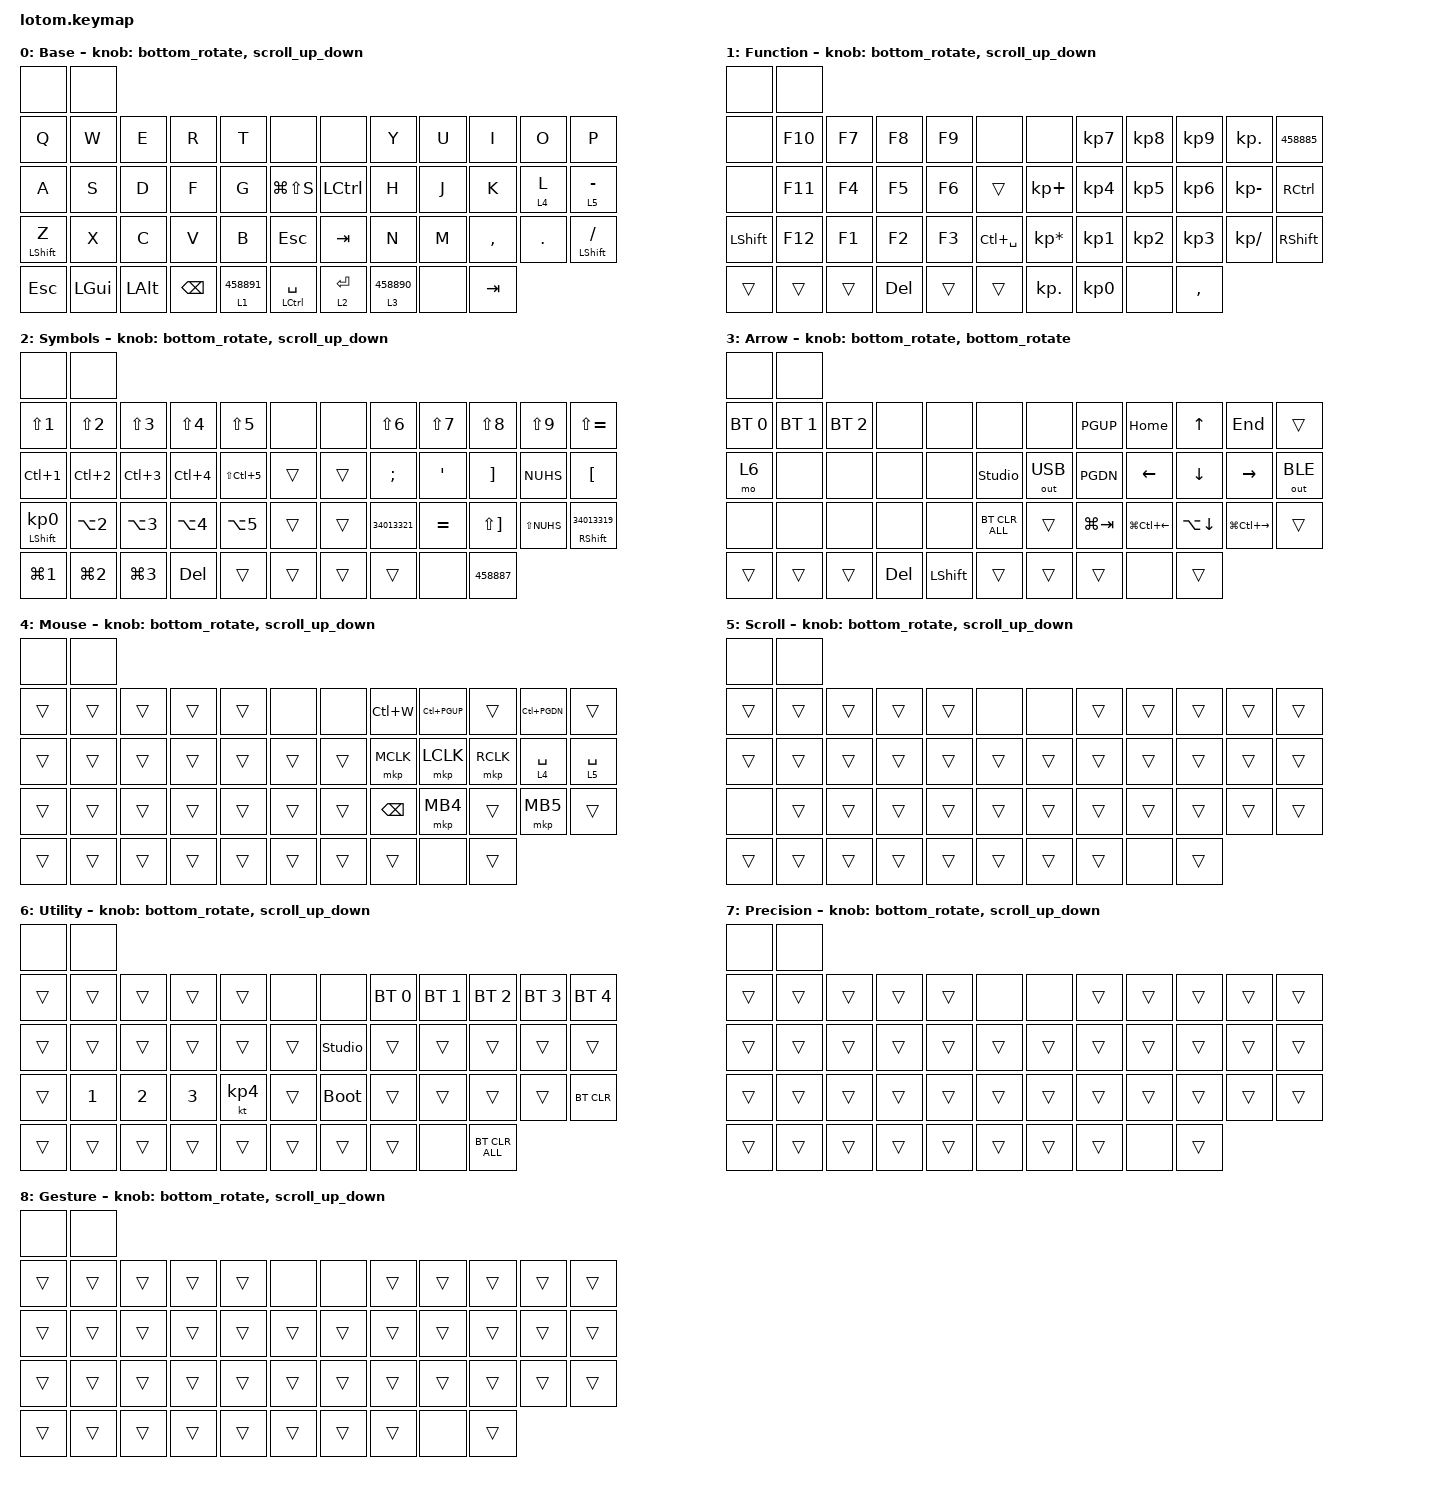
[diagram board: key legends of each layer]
#include <behaviors.dtsi>
#include <dt-bindings/zmk/bt.h>
#include <dt-bindings/zmk/keys.h>
#include <dt-bindings/zmk/outputs.h>
#include <dt-bindings/zmk/pointing.h>
#include <zephyr/dt-bindings/input/input-event-codes.h>
#include <dt-bindings/zmk/runtime_input_processor.h>
#include <input/processors/runtime-input-processor.dtsi>
#include <behaviors/runtime-input-processor.dtsi>
#include <behaviors/runtime_macro.dtsi>
#include <behaviors/runtime-sensor-rotate.dtsi>

#undef ZMK_POINTING_DEFAULT_SCRL_VAL
#define ZMK_POINTING_DEFAULT_SCRL_VAL 120

// Cygnus layer order: Base, Function, Symbols, Arrow, Mouse, Scroll,
// Utility, Precision, Gesture. Physical positions remain LoTom's 48 keys.
&mt {
    flavor = "balanced";
    tapping-term-ms = <200>;
    quick-tap-ms = <0>;
    require-prior-idle-ms = <0>;
};

&lt {
    flavor = "balanced";
    tapping-term-ms = <200>;
    quick-tap-ms = <0>;
    require-prior-idle-ms = <0>;
};

&mouse_runtime_input_processor {
    temp-layer-enabled;
    temp-layer = <4>;
    temp-layer-activation-delay-ms = <0>;
    temp-layer-deactivation-delay-ms = <60000>;
};

&scroll_runtime_input_processor {
    // Same trackball scroll defaults as Cygnus, active on layer 5 only.
    active-layers = <32>;
    x-codes = <INPUT_REL_X>;
    y-codes = <INPUT_REL_Y>;
    xy-to-scroll-enabled;
    scale-multiplier = <1>;
    scale-divisor = <60>;
    axis-snap-mode = <AXIS_SNAP_MODE_Y>;
    axis-snap-threshold = <200>;
};

/ {
    runtime_combo_defaults {
        compatible = "cormoran,runtime-combo-defaults";

        gesture_io {
            slot = <0>;
            display-name = "IO Gesture";
            bindings = <&mo 8>;
            key-positions = <11 12>;
            layers = <0 4>;
            timeout-ms = <50>;
        };

        precision_l_minus {
            slot = <1>;
            display-name = "L minus Precision";
            bindings = <&mo 7>;
            key-positions = <24 25>;
            layers = <0 4>;
            timeout-ms = <50>;
        };
    };

    behaviors {
        scroll_up_down: behavior_sensor_rotate_mouse_wheel_up_down {
            compatible = "zmk,behavior-runtime-sensor-rotate";
            label = "ENCODER_MSC_DOWN_UP";
            #sensor-binding-cells = <0>;
            cw-binding = <&msc SCRL_DOWN>;
            ccw-binding = <&msc SCRL_UP>;
            tap-ms = <20>;
        };

        bottom_rotate: behavior_sensor_rotate_bottom {
            compatible = "zmk,behavior-runtime-sensor-rotate";
            label = "ENCODER_BOTTOM";
            #sensor-binding-cells = <0>;
            cw-binding = <&kp LC(PAGE_UP)>;
            ccw-binding = <&kp LC(PAGE_DOWN)>;
            tap-ms = <20>;
        };
    };

    keymap: keymap {
        compatible = "zmk,keymap";

        // Each hand: pinky 1, ring 1, middle 1, index 3 columns.
        // Cygnus's existing inner keys are retained. The five additional
        // LoTom positions (0, 1, 7, 8, 46) are unassigned on every layer.
        default_layer {
            display-name = "Base";
            bindings = <
                &none                  &none
                &kp Q                  &kp W                  &kp E                  &kp R                  &kp T                  &none                  &none                  &kp Y                  &kp U                  &kp I                  &kp O                  &kp P
                &kp A                  &kp S                  &kp D                  &kp F                  &kp G                  &kp LG(LS(S))          &kp LCTL               &kp H                  &kp J                  &kp K                  &lt 4 L                &lt 5 MINUS
                &mt LSHFT Z            &kp X                  &kp C                  &kp V                  &kp B                  &kp ESC                &kp TAB                &kp N                  &kp M                  &kp COMMA              &kp DOT                &mt LSHFT FSLH
                &kp ESC                &kp LGUI               &kp LALT               &kp BSPC               &lt 1 458891           &mt LCTL SPACE         &lt 2 RET              &lt 3 458890           &none                  &kp TAB
            >;

            sensor-bindings = <&bottom_rotate &scroll_up_down>;
        };

        FUNCTION {
            display-name = "Function";
            bindings = <
                &none                  &none
                &none                  &kp F10                &kp F7                 &kp F8                 &kp F9                 &none                  &none                  &kp KP_N7              &kp KP_N8              &kp KP_N9              &kp KP_DOT             &kp 458885
                &none                  &kp F11                &kp F4                 &kp F5                 &kp F6                 &trans                 &kp KP_PLUS            &kp KP_N4              &kp KP_N5              &kp KP_N6              &kp KP_MINUS           &kp RCTL
                &kp LSHFT              &kp F12                &kp F1                 &kp F2                 &kp F3                 &kp LC(SPACE)          &kp KP_ASTERISK        &kp KP_N1              &kp KP_N2              &kp KP_N3              &kp KP_SLASH           &kp RSHFT
                &trans                 &trans                 &trans                 &kp DEL                &trans                 &trans                 &kp KP_DOT             &kp KP_N0              &none                  &kp COMMA
            >;

            sensor-bindings = <&bottom_rotate &scroll_up_down>;
        };

        NUM {
            display-name = "Symbols";
            bindings = <
                &none                  &none
                &kp LS(N1)             &kp LS(N2)             &kp LS(N3)             &kp LS(N4)             &kp LS(N5)             &none                  &none                  &kp LS(N6)             &kp LS(N7)             &kp LS(N8)             &kp LS(N9)             &kp LS(EQUAL)
                &kp LC(N1)             &kp LC(N2)             &kp LC(N3)             &kp LC(N4)             &kp LS(LC(N5))         &trans                 &trans                 &kp SEMI               &kp SQT                &kp RBKT               &kp NUHS               &kp LBKT
                &mt LSHFT KP_N0        &kp LA(N2)             &kp LA(N3)             &kp LA(N4)             &kp LA(N5)             &trans                 &trans                 &kp 34013321           &kp EQUAL              &kp LS(RBKT)           &kp LS(NUHS)           &mt RSHFT 34013319
                &kp LG(N1)             &kp LG(N2)             &kp LG(N3)             &kp DEL                &trans                 &trans                 &trans                 &trans                 &none                  &kp 458887
            >;

            sensor-bindings = <&bottom_rotate &scroll_up_down>;
        };

        ARROW {
            display-name = "Arrow";
            // Hold Arrow + A for Utility. Precision/Gesture use combos.
            bindings = <
                &none                  &none
                &bt BT_SEL 0           &bt BT_SEL 1           &bt BT_SEL 2           &none                  &none                  &none                  &none                  &kp PGUP               &kp HOME               &kp UP                 &kp END                &trans
                &mo 6                  &none                  &none                  &none                  &none                  &studio_unlock         &out OUT_USB           &kp PGDN               &kp LEFT               &kp DOWN               &kp RIGHT              &out OUT_BLE
                &none                  &none                  &none                  &none                  &none                  &bt BT_CLR_ALL         &trans                 &kp LG(TAB)            &kp LG(LC(LEFT))       &kp LA(DOWN)           &kp LG(LC(RIGHT))      &trans
                &trans                 &trans                 &trans                 &kp DEL                &kp LSHFT              &trans                 &trans                 &trans                 &none                  &trans
            >;

            sensor-bindings = <&bottom_rotate &bottom_rotate>;
        };

        MOUSE {
            display-name = "Mouse";
            bindings = <
                &none                  &none
                &trans                 &trans                 &trans                 &trans                 &trans                 &none                  &none                  &kp LC(W)              &kp LC(PGUP)           &trans                 &kp LC(PGDN)           &trans
                &trans                 &trans                 &trans                 &trans                 &trans                 &trans                 &trans                 &mkp MCLK              &mkp LCLK              &mkp RCLK              &lt 4 SPACE            &lt 5 SPACE
                &trans                 &trans                 &trans                 &trans                 &trans                 &trans                 &trans                 &kp BSPC               &mkp MB4               &trans                 &mkp MB5               &trans
                &trans                 &trans                 &trans                 &trans                 &trans                 &trans                 &trans                 &trans                 &none                  &trans
            >;

            sensor-bindings = <&bottom_rotate &scroll_up_down>;
        };

        SCROLL {
            display-name = "Scroll";
            bindings = <
                &none                  &none
                &trans                 &trans                 &trans                 &trans                 &trans                 &none                  &none                  &trans                 &trans                 &trans                 &trans                 &trans
                &trans                 &trans                 &trans                 &trans                 &trans                 &trans                 &trans                 &trans                 &trans                 &trans                 &trans                 &trans
                &none                  &trans                 &trans                 &trans                 &trans                 &trans                 &trans                 &trans                 &trans                 &trans                 &trans                 &trans
                &trans                 &trans                 &trans                 &trans                 &trans                 &trans                 &trans                 &trans                 &none                  &trans
            >;

            sensor-bindings = <&bottom_rotate &scroll_up_down>;
        };

        layer_6 {
            display-name = "Utility";
            bindings = <
                &none                  &none
                &trans                 &trans                 &trans                 &trans                 &trans                 &none                  &none                  &bt BT_SEL 0           &bt BT_SEL 1           &bt BT_SEL 2           &bt BT_SEL 3           &bt BT_SEL 4
                &trans                 &trans                 &trans                 &trans                 &trans                 &trans                 &studio_unlock         &trans                 &trans                 &trans                 &trans                 &trans
                &trans                 &kp N1                 &kp N2                 &kp N3                 &kt KP_N4              &trans                 &bootloader            &trans                 &trans                 &trans                 &trans                 &bt BT_CLR
                &trans                 &trans                 &trans                 &trans                 &trans                 &trans                 &trans                 &trans                 &none                  &bt BT_CLR_ALL
            >;

            sensor-bindings = <&bottom_rotate &scroll_up_down>;
        };

        precision_layer {
            display-name = "Precision";
            bindings = <
                &none                  &none
                &trans                 &trans                 &trans                 &trans                 &trans                 &none                  &none                  &trans                 &trans                 &trans                 &trans                 &trans
                &trans                 &trans                 &trans                 &trans                 &trans                 &trans                 &trans                 &trans                 &trans                 &trans                 &trans                 &trans
                &trans                 &trans                 &trans                 &trans                 &trans                 &trans                 &trans                 &trans                 &trans                 &trans                 &trans                 &trans
                &trans                 &trans                 &trans                 &trans                 &trans                 &trans                 &trans                 &trans                 &none                  &trans
            >;

            sensor-bindings = <&bottom_rotate &scroll_up_down>;
        };

        gesture_layer {
            display-name = "Gesture";
            bindings = <
                &none                  &none
                &trans                 &trans                 &trans                 &trans                 &trans                 &none                  &none                  &trans                 &trans                 &trans                 &trans                 &trans
                &trans                 &trans                 &trans                 &trans                 &trans                 &trans                 &trans                 &trans                 &trans                 &trans                 &trans                 &trans
                &trans                 &trans                 &trans                 &trans                 &trans                 &trans                 &trans                 &trans                 &trans                 &trans                 &trans                 &trans
                &trans                 &trans                 &trans                 &trans                 &trans                 &trans                 &trans                 &trans                 &none                  &trans
            >;

            sensor-bindings = <&bottom_rotate &scroll_up_down>;
        };

    };
};
